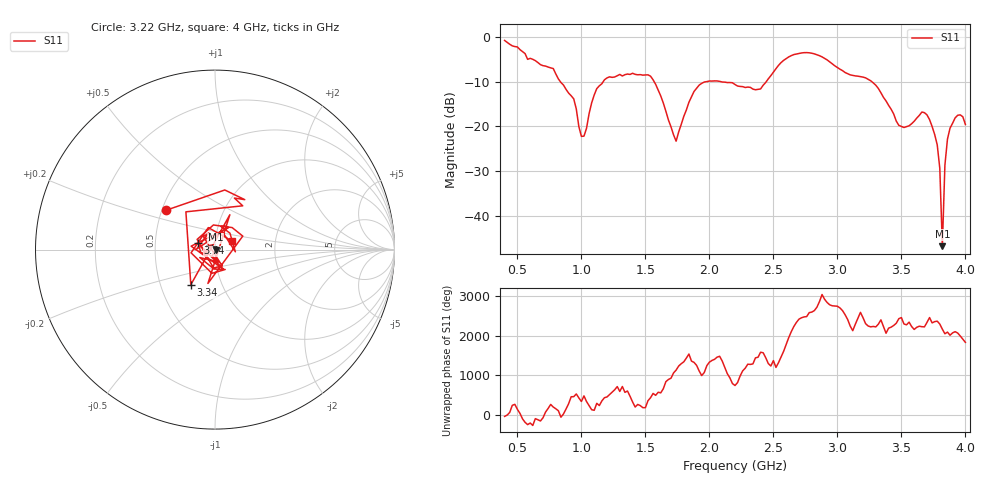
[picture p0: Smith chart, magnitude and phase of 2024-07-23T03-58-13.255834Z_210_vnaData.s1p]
!Created with skrf (http://scikit-rf.org).
# Hz S RI R 50.0
!freq ReS11 ImS11
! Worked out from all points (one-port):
!   181 points, 400 MHz to 4 GHz, reference 50 ohm
!   lowest |S11| = -46.8 dB at 3.82 GHz (marker M1), VSWR 1.01, Z = 50.5 + j0.000229 ohm
!   |S11| at or under -10 dB: 1.568 GHz to 1.975 GHz (407.1 MHz wide, 23 % of centre); 2.091 GHz to 2.444 GHz (353.5 MHz wide, 15.6 % of centre); 3.269 GHz to end of sweep (the widest 3 of 4)
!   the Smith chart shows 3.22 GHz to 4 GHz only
!   S11 on the Smith chart (normalised r, x): 3.22 GHz: 0.53, +0.26; 3.34 GHz: 0.71, -0.30; 3.74 GHz: 0.83, +0.06; 4 GHz: 1.20, +0.12
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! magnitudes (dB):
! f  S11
! 400 MHz  -0.8
! 860 MHz  -10.8
! 940 MHz  -13.8
! 1 GHz  -22.2
! 1.02 GHz  -22.2
! 1.12 GHz  -11.6
! 1.3 GHz  -8.4
! 1.54 GHz  -8.8
! 1.74 GHz  -23.3
! 1.76 GHz  -21.2
! 1.92 GHz  -10.8
! 2.2 GHz  -10.6
! 2.4 GHz  -11.6
! 2.66 GHz  -3.9
! 3.1 GHz  -8.5
! 3.22 GHz  -9.1
! 3.34 GHz  -12.5
! 3.48 GHz  -19.8
! 3.56 GHz  -19.9
! 3.66 GHz  -16.8
! 3.74 GHz  -20.0
! 3.78 GHz  -24.1
! 3.8 GHz  -29.4
! 3.82 GHz  -46.8
! 3.84 GHz  -28.6
! 3.86 GHz  -22.8
! 3.94 GHz  -17.5
! 4 GHz  -19.6
